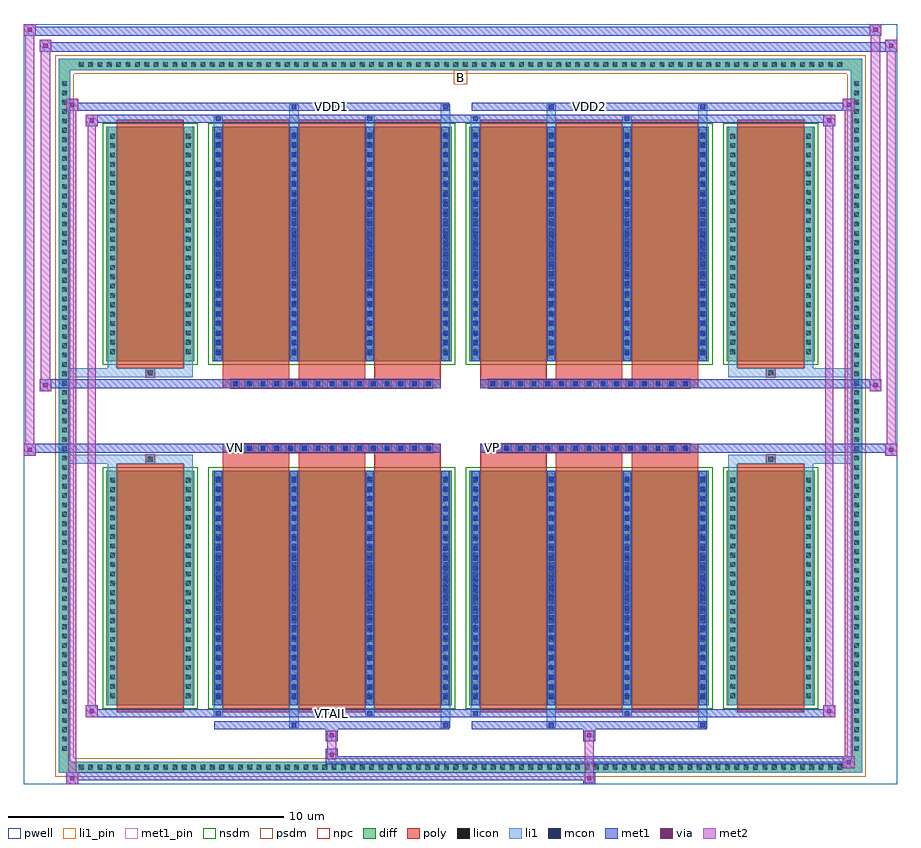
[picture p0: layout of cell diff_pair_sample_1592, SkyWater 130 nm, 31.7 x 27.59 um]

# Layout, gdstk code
import gdstk
lib = gdstk.Library(unit=1e-6, precision=5e-09)
def R(c, l, rs):  # rectangles x0, y0, x1, y1
    for r in rs: c.add(gdstk.rectangle(r[:2], r[2:], *l))
def A(c, l, x, y, w, h, nx, ny, dx, dy):  # array of equal rectangles
    R(c, l, [(x+i*dx, y+j*dy, x+i*dx+w, y+j*dy+h) for i in range(nx) for j in range(ny)])
def P(c, l, *ps):  # polygons
    for p in ps: c.add(gdstk.Polygon(p, *l))
pwell = (64, 44)
diff = (65, 20)
poly = (66, 20)
licon = (66, 44)
li1_pin = (67, 16)
li1 = (67, 20)
mcon = (67, 44)
met1_pin = (68, 16)
met1 = (68, 20)
via = (68, 44)
met2 = (69, 20)
nsdm = (93, 44)
psdm = (94, 20)
npc = (95, 20)

diff_pair_sample_1592 = lib.new_cell('diff_pair_sample_1592')
R(diff_pair_sample_1592, pwell, [(-15.85,-13.36,15.85,14.23), (-13.17,-11.55,-0.01,-0.805), (0.01,-11.55,13.17,-0.805), (-13.17,0.805,-0.01,11.55), (0.01,0.805,13.17,11.55)])
A(diff_pair_sample_1592, diff, -13.975, -12.96, 0.41, 0.41, 82, 2, 0.34, 25.51)
A(diff_pair_sample_1592, diff, -14.58, -12.275, 0.41, 0.41, 1, 72, 0, 0.34)
A(diff_pair_sample_1592, diff, 14.17, -12.275, 0.41, 0.41, 1, 72, 0, 0.34)
R(diff_pair_sample_1592, diff, [(-13.975,-12.96,13.975,-12.55), (-14.58,-12.275,-14.17,12.275), (14.17,-12.275,14.58,12.275), (-12.86,-10.505,-9.66,-1.985), (-9.02,-10.505,-0.32,-1.985), (0.32,-10.505,9.02,-1.985), (9.66,-10.505,12.86,-1.985), (-12.86,1.985,-9.66,10.505), (-9.02,1.985,-0.32,10.505), (0.32,1.985,9.02,10.505), (9.66,1.985,12.86,10.505), (-13.975,12.55,13.975,12.96)])
P(diff_pair_sample_1592, diff, [(14.58,12.96),(-14.58,12.96),(-14.58,-12.55),(-14.17,-12.55),(-14.17,12.55),(14.17,12.55),(14.17,-12.55),(-14.17,-12.55),(-14.58,-12.55),(-14.58,-12.96),(14.58,-12.96)])
A(diff_pair_sample_1592, poly, -8.63, -10.755, 2.42, 9.02, 3, 2, 2.75, 12.49)
A(diff_pair_sample_1592, poly, 0.71, -10.755, 2.42, 9.02, 3, 2, 2.75, 12.49)
A(diff_pair_sample_1592, poly, -8.63, -1.735, 2.42, 0.4, 3, 2, 2.75, 3.07)
A(diff_pair_sample_1592, poly, 0.71, -1.735, 2.42, 0.4, 3, 2, 2.75, 3.07)
A(diff_pair_sample_1592, poly, -8.335, -1.335, 0.33, 0.33, 15, 2, 0.5, 2.34)
A(diff_pair_sample_1592, poly, 1.005, -1.335, 0.33, 0.33, 15, 2, 0.5, 2.34)
R(diff_pair_sample_1592, poly, [(-12.47,-10.755,-10.05,-1.735), (10.05,-10.755,12.47,-1.735), (-11.425,-1.735,-11.095,-1.405), (-11.425,-1.735,-11.095,-1.405), (11.095,-1.735,11.425,-1.405), (11.095,-1.735,11.425,-1.405), (-8.63,-1.335,-0.71,-1.005), (0.71,-1.335,8.63,-1.005), (-8.63,1.005,-0.71,1.335), (0.71,1.005,8.63,1.335), (-11.425,1.405,-11.095,1.735), (-11.425,1.405,-11.095,1.735), (11.095,1.405,11.425,1.735), (11.095,1.405,11.425,1.735), (-12.47,1.735,-10.05,10.755), (10.05,1.735,12.47,10.755)])
A(diff_pair_sample_1592, licon, -13.855, -12.84, 0.17, 0.17, 82, 2, 0.34, 25.51)
A(diff_pair_sample_1592, licon, -14.46, -12.155, 0.17, 0.17, 1, 72, 0, 0.34)
A(diff_pair_sample_1592, licon, 14.29, -12.155, 0.17, 0.17, 1, 72, 0, 0.34)
A(diff_pair_sample_1592, licon, -12.72, -10.24, 0.17, 0.17, 1, 24, 0, 0.34)
A(diff_pair_sample_1592, licon, -9.97, -10.24, 0.17, 0.17, 1, 24, 0, 0.34)
A(diff_pair_sample_1592, licon, -8.88, -10.24, 0.17, 0.17, 4, 24, 2.75, 0.34)
A(diff_pair_sample_1592, licon, 0.46, -10.24, 0.17, 0.17, 4, 24, 2.75, 0.34)
A(diff_pair_sample_1592, licon, 9.8, -10.24, 0.17, 0.17, 1, 24, 0, 0.34)
A(diff_pair_sample_1592, licon, 12.55, -10.24, 0.17, 0.17, 1, 24, 0, 0.34)
A(diff_pair_sample_1592, licon, -8.255, -1.255, 0.17, 0.17, 15, 2, 0.5, 2.34)
A(diff_pair_sample_1592, licon, 1.085, -1.255, 0.17, 0.17, 15, 2, 0.5, 2.34)
A(diff_pair_sample_1592, licon, -12.72, 2.25, 0.17, 0.17, 1, 24, 0, 0.34)
A(diff_pair_sample_1592, licon, -9.97, 2.25, 0.17, 0.17, 1, 24, 0, 0.34)
A(diff_pair_sample_1592, licon, -8.88, 2.25, 0.17, 0.17, 4, 24, 2.75, 0.34)
A(diff_pair_sample_1592, licon, 0.46, 2.25, 0.17, 0.17, 4, 24, 2.75, 0.34)
A(diff_pair_sample_1592, licon, 9.8, 2.25, 0.17, 0.17, 1, 24, 0, 0.34)
A(diff_pair_sample_1592, licon, 12.55, 2.25, 0.17, 0.17, 1, 24, 0, 0.34)
R(diff_pair_sample_1592, licon, [(-11.345,-1.655,-11.175,-1.485), (11.175,-1.655,11.345,-1.485), (-11.345,1.485,-11.175,1.655), (11.175,1.485,11.345,1.655)])
R(diff_pair_sample_1592, li1_pin, [(-0.25,12.05,0.25,12.55)])
A(diff_pair_sample_1592, li1, -13.935, -12.92, 0.33, 0.33, 82, 2, 0.34, 25.51)
A(diff_pair_sample_1592, li1, -14.54, -12.235, 0.33, 0.33, 1, 72, 0, 0.34)
A(diff_pair_sample_1592, li1, 14.21, -12.235, 0.33, 0.33, 1, 72, 0, 0.34)
A(diff_pair_sample_1592, li1, -8.96, -10.505, 0.33, 8.52, 4, 2, 2.75, 12.49)
A(diff_pair_sample_1592, li1, 0.38, -10.505, 0.33, 8.52, 4, 2, 2.75, 12.49)
A(diff_pair_sample_1592, li1, -12.8, -10.32, 0.33, 0.33, 1, 24, 0, 0.34)
A(diff_pair_sample_1592, li1, -10.05, -10.32, 0.33, 0.33, 1, 24, 0, 0.34)
A(diff_pair_sample_1592, li1, -8.96, -10.32, 0.33, 0.33, 4, 24, 2.75, 0.34)
A(diff_pair_sample_1592, li1, 0.38, -10.32, 0.33, 0.33, 4, 24, 2.75, 0.34)
A(diff_pair_sample_1592, li1, 9.72, -10.32, 0.33, 0.33, 1, 24, 0, 0.34)
A(diff_pair_sample_1592, li1, 12.47, -10.32, 0.33, 0.33, 1, 24, 0, 0.34)
A(diff_pair_sample_1592, li1, -8.88, -10.29, 0.17, 0.17, 4, 23, 2.75, 0.36)
A(diff_pair_sample_1592, li1, -8.88, -10.29, 0.17, 8.09, 4, 2, 2.75, 12.49)
A(diff_pair_sample_1592, li1, 0.46, -10.29, 0.17, 0.17, 4, 23, 2.75, 0.36)
A(diff_pair_sample_1592, li1, 0.46, -10.29, 0.17, 8.09, 4, 2, 2.75, 12.49)
A(diff_pair_sample_1592, li1, -8.335, -1.335, 0.33, 0.33, 15, 2, 0.5, 2.34)
A(diff_pair_sample_1592, li1, 1.005, -1.335, 0.33, 0.33, 15, 2, 0.5, 2.34)
A(diff_pair_sample_1592, li1, -12.8, 2.17, 0.33, 0.33, 1, 24, 0, 0.34)
A(diff_pair_sample_1592, li1, -10.05, 2.17, 0.33, 0.33, 1, 24, 0, 0.34)
A(diff_pair_sample_1592, li1, -8.96, 2.17, 0.33, 0.33, 4, 24, 2.75, 0.34)
A(diff_pair_sample_1592, li1, 0.38, 2.17, 0.33, 0.33, 4, 24, 2.75, 0.34)
A(diff_pair_sample_1592, li1, 9.72, 2.17, 0.33, 0.33, 1, 24, 0, 0.34)
A(diff_pair_sample_1592, li1, 12.47, 2.17, 0.33, 0.33, 1, 24, 0, 0.34)
A(diff_pair_sample_1592, li1, -8.88, 2.2, 0.17, 0.17, 4, 23, 2.75, 0.36)
A(diff_pair_sample_1592, li1, 0.46, 2.2, 0.17, 0.17, 4, 23, 2.75, 0.36)
R(diff_pair_sample_1592, li1, [(-14.58,-12.96,-14.17,-12.55), (-14.58,-12.96,-14.17,-12.55), (-14.17,-12.96,14.17,-12.55), (14.17,-12.96,14.58,-12.55), (14.17,-12.96,14.58,-12.55), (-14.58,-12.55,-14.17,12.55), (14.17,-12.55,14.58,12.55), (-6.21,-11.31,-5.88,-10.505), (-6.13,-11.31,-5.96,-11.14), (-0.71,-11.31,-0.38,-10.505), (-0.63,-11.31,-0.46,-11.14), (3.13,-11.31,3.46,-10.505), (3.21,-11.31,3.38,-11.14), (8.63,-11.31,8.96,-10.505), (8.71,-11.31,8.88,-11.14), (-8.96,-10.88,-8.63,-10.505), (-8.88,-10.88,-8.71,-10.71), (-3.46,-10.88,-3.13,-10.505), (-3.38,-10.88,-3.21,-10.71), (0.38,-10.88,0.71,-10.505), (0.46,-10.88,0.63,-10.71), (5.88,-10.88,6.21,-10.505), (5.96,-10.88,6.13,-10.71), (-12.8,-10.505,-12.47,-1.985), (-10.05,-10.505,-9.72,-1.985), (9.72,-10.505,10.05,-1.985), (12.47,-10.505,12.8,-1.985), (-12.8,-1.985,-12.47,-1.405), (-10.05,-1.985,-9.72,-1.405), (9.72,-1.985,10.05,-1.405), (12.47,-1.985,12.8,-1.405), (-14.58,-1.735,-11.425,-1.405), (-12.8,-1.735,-11.425,-1.405), (-11.425,-1.735,-11.095,-1.405), (-11.095,-1.735,-9.72,-1.405), (9.72,-1.735,11.095,-1.405), (11.095,-1.735,11.425,-1.405), (11.095,-1.735,14.58,-1.405), (11.425,-1.735,12.8,-1.405), (-14.58,1.405,-11.425,1.735), (-12.8,1.405,-11.425,1.735), (-12.8,1.405,-12.47,1.985), (-11.425,1.405,-11.095,1.735), (-11.095,1.405,-9.72,1.735), (-10.05,1.405,-9.72,1.985), (9.72,1.405,11.095,1.735), (9.72,1.405,10.05,1.985), (11.095,1.405,11.425,1.735), (11.095,1.405,14.58,1.735), (11.425,1.405,12.8,1.735), (12.47,1.405,12.8,1.985), (-12.8,1.985,-12.47,10.505), (-10.05,1.985,-9.72,10.505), (9.72,1.985,10.05,10.505), (12.47,1.985,12.8,10.505), (-8.96,10.505,-8.63,10.88), (-6.21,10.505,-5.88,11.31), (-3.46,10.505,-3.13,10.88), (-0.71,10.505,-0.38,11.31), (0.38,10.505,0.71,10.88), (3.13,10.505,3.46,11.31), (5.88,10.505,6.21,10.88), (8.63,10.505,8.96,11.31), (-8.88,10.71,-8.71,10.88), (-3.38,10.71,-3.21,10.88), (0.46,10.71,0.63,10.88), (5.96,10.71,6.13,10.88), (-6.13,11.14,-5.96,11.31), (-0.63,11.14,-0.46,11.31), (3.21,11.14,3.38,11.31), (8.71,11.14,8.88,11.31), (-14.58,12.55,-14.17,12.96), (-14.58,12.55,-14.17,12.96), (-14.17,12.55,14.17,12.96), (14.17,12.55,14.58,12.96), (14.17,12.55,14.58,12.96)])
A(diff_pair_sample_1592, mcon, -8.88, -10.29, 0.17, 0.17, 4, 23, 2.75, 0.36)
A(diff_pair_sample_1592, mcon, 0.46, -10.29, 0.17, 0.17, 4, 23, 2.75, 0.36)
A(diff_pair_sample_1592, mcon, -8.255, -1.255, 0.17, 0.17, 15, 2, 0.5, 2.34)
A(diff_pair_sample_1592, mcon, 1.085, -1.255, 0.17, 0.17, 15, 2, 0.5, 2.34)
A(diff_pair_sample_1592, mcon, -8.88, 2.2, 0.17, 0.17, 4, 23, 2.75, 0.36)
A(diff_pair_sample_1592, mcon, 0.46, 2.2, 0.17, 0.17, 4, 23, 2.75, 0.36)
R(diff_pair_sample_1592, mcon, [(-6.13,-11.31,-5.96,-11.14), (-0.63,-11.31,-0.46,-11.14), (3.21,-11.31,3.38,-11.14), (8.71,-11.31,8.88,-11.14), (-8.88,-10.88,-8.71,-10.71), (-3.38,-10.88,-3.21,-10.71), (0.46,-10.88,0.63,-10.71), (5.96,-10.88,6.13,-10.71), (-8.88,10.71,-8.71,10.88), (-3.38,10.71,-3.21,10.88), (0.46,10.71,0.63,10.88), (5.96,10.71,6.13,10.88), (-6.13,11.14,-5.96,11.31), (-0.63,11.14,-0.46,11.31), (3.21,11.14,3.38,11.31), (8.71,11.14,8.88,11.31)])
R(diff_pair_sample_1592, met1_pin, [(-4.805,-10.92,-4.535,-10.65), (-8.305,-1.295,-8.035,-1.025), (1.035,-1.295,1.305,-1.025), (-4.805,11.1,-4.535,11.37), (4.535,11.1,4.805,11.37)])
A(diff_pair_sample_1592, met1, -8.94, -10.505, 0.29, 8.52, 4, 2, 2.75, 12.49)
A(diff_pair_sample_1592, met1, 0.4, -10.505, 0.29, 8.52, 4, 2, 2.75, 12.49)
A(diff_pair_sample_1592, met1, -8.94, -10.35, 0.29, 0.29, 4, 23, 2.75, 0.36)
A(diff_pair_sample_1592, met1, 0.4, -10.35, 0.29, 0.29, 4, 23, 2.75, 0.36)
A(diff_pair_sample_1592, met1, -8.315, -1.315, 0.29, 0.29, 15, 2, 0.5, 2.34)
A(diff_pair_sample_1592, met1, 1.025, -1.315, 0.29, 0.29, 15, 2, 0.5, 2.34)
A(diff_pair_sample_1592, met1, -8.94, 2.14, 0.29, 0.29, 4, 23, 2.75, 0.36)
A(diff_pair_sample_1592, met1, 0.4, 2.14, 0.29, 0.29, 4, 23, 2.75, 0.36)
R(diff_pair_sample_1592, met1, [(-14.31,-13.36,-13.88,-12.93), (4.455,-13.36,4.885,-12.93), (-14.31,-13.22,4.885,-12.93), (13.88,-12.79,14.31,-12.36), (-4.885,-12.65,14.31,-12.36), (-4.885,-12.51,-4.455,-12.08), (-4.885,-11.8,-4.455,-11.37), (4.455,-11.8,4.885,-11.37), (-8.94,-11.37,-0.4,-11.08), (-6.19,-11.37,-5.9,-11.08), (-0.69,-11.37,-0.4,-11.08), (0.4,-11.37,8.94,-11.08), (3.15,-11.37,3.44,-11.08), (8.65,-11.37,8.94,-11.08), (-13.6,-10.94,-13.17,-10.51), (-13.6,-10.94,-8.94,-10.65), (-8.94,-10.94,-8.65,-10.65), (-8.94,-10.94,-0.4,-10.65), (-3.44,-10.94,-3.15,-10.65), (-0.4,-10.94,0.4,-10.65), (0.4,-10.94,0.69,-10.65), (0.4,-10.94,8.94,-10.65), (5.9,-10.94,6.19,-10.65), (8.94,-10.94,13.6,-10.65), (13.17,-10.94,13.6,-10.51), (-15.85,-1.435,-15.42,-1.005), (15.42,-1.435,15.85,-1.005), (-15.85,-1.335,-0.71,-1.005), (-8.63,-1.335,-0.71,-1.005), (0.71,-1.335,8.63,-1.005), (0.71,-1.335,15.85,-1.005), (-15.28,0.905,-14.85,1.335), (14.85,0.905,15.28,1.335), (-15.28,1.005,-8.63,1.335), (-8.63,1.005,-0.71,1.335), (0.71,1.005,8.63,1.335), (8.63,1.005,15.28,1.335), (-13.6,10.51,-13.17,10.94), (13.17,10.51,13.6,10.94), (-13.6,10.65,-8.94,10.94), (-8.94,10.65,-8.65,10.94), (-8.94,10.65,-0.4,10.94), (-3.44,10.65,-3.15,10.94), (-0.4,10.65,0.4,10.94), (0.4,10.65,0.69,10.94), (0.4,10.65,8.94,10.94), (5.9,10.65,6.19,10.94), (8.94,10.65,13.6,10.94), (-14.31,11.08,-13.88,11.51), (-14.31,11.08,-8.94,11.37), (-8.94,11.08,-0.4,11.37), (-6.19,11.08,-5.9,11.37), (-0.69,11.08,-0.4,11.37), (0.4,11.08,8.94,11.37), (3.15,11.08,3.44,11.37), (8.65,11.08,8.94,11.37), (8.94,11.08,14.31,11.37), (13.88,11.08,14.31,11.51), (-15.28,13.23,-14.85,13.66), (-15.28,13.23,-13.17,13.56), (-13.17,13.23,13.17,13.56), (13.17,13.23,15.85,13.56), (15.42,13.23,15.85,13.66), (-15.85,13.8,-15.42,14.23), (-15.85,13.8,-13.17,14.13), (-13.17,13.8,13.17,14.13), (13.17,13.8,15.28,14.13), (14.85,13.8,15.28,14.23)])
R(diff_pair_sample_1592, via, [(-14.17,-13.22,-14.02,-13.07), (4.595,-13.22,4.745,-13.07), (14.02,-12.65,14.17,-12.5), (-4.745,-12.37,-4.595,-12.22), (-4.745,-11.66,-4.595,-11.51), (4.595,-11.66,4.745,-11.51), (-13.46,-10.8,-13.31,-10.65), (13.31,-10.8,13.46,-10.65), (-15.71,-1.295,-15.56,-1.145), (15.56,-1.295,15.71,-1.145), (-15.14,1.045,-14.99,1.195), (14.99,1.045,15.14,1.195), (-13.46,10.65,-13.31,10.8), (13.31,10.65,13.46,10.8), (-14.17,11.22,-14.02,11.37), (14.02,11.22,14.17,11.37), (-15.14,13.37,-14.99,13.52), (15.56,13.37,15.71,13.52), (-15.71,13.94,-15.56,14.09), (14.99,13.94,15.14,14.09)])
R(diff_pair_sample_1592, met2, [(-14.31,-13.36,-13.88,-12.93), (-14.24,-13.36,-13.95,11.51), (-13.95,-13.36,-13.88,-12.93), (-14.26,-13.31,-13.93,-12.98), (4.505,-13.31,4.835,-12.98), (4.505,-12.98,4.835,-11.75), (13.88,-12.79,14.31,-12.36), (13.95,-12.79,14.24,11.51), (14.24,-12.79,14.31,-12.36), (13.93,-12.74,14.26,-12.41), (-4.835,-12.46,-4.505,-12.13), (-4.835,-12.13,-4.505,-11.75), (-4.835,-11.75,-4.505,-11.42), (4.505,-11.75,4.835,-11.42), (-13.6,-10.94,-13.17,-10.51), (-13.53,-10.94,-13.24,10.94), (-13.24,-10.94,-13.17,-10.51), (13.17,-10.94,13.6,-10.51), (13.24,-10.94,13.53,10.94), (13.53,-10.94,13.6,-10.51), (-13.55,-10.89,-13.22,-10.56), (13.22,-10.89,13.55,-10.56), (-15.85,-1.435,-15.42,-1.005), (-15.8,-1.435,-15.47,14.23), (-15.47,-1.435,-15.42,-1.005), (15.42,-1.435,15.85,-1.005), (15.47,-1.435,15.8,13.66), (15.8,-1.435,15.85,-1.005), (-15.8,-1.385,-15.47,-1.055), (15.47,-1.385,15.8,-1.055), (-15.28,0.905,-14.85,1.335), (-15.23,0.905,-14.9,13.66), (-14.9,0.905,-14.85,1.335), (14.85,0.905,15.28,1.335), (14.9,0.905,15.23,14.23), (15.23,0.905,15.28,1.335), (-15.23,0.955,-14.9,1.285), (14.9,0.955,15.23,1.285), (-13.6,10.51,-13.17,10.94), (-13.24,10.51,-13.17,10.94), (13.17,10.51,13.6,10.94), (13.53,10.51,13.6,10.94), (-13.55,10.56,-13.22,10.89), (13.22,10.56,13.55,10.89), (-14.31,11.08,-13.88,11.51), (-13.95,11.08,-13.88,11.51), (13.88,11.08,14.31,11.51), (14.24,11.08,14.31,11.51), (-14.26,11.13,-13.93,11.46), (13.93,11.13,14.26,11.46), (-15.28,13.23,-14.85,13.66), (-14.9,13.23,-14.85,13.66), (15.42,13.23,15.85,13.66), (15.8,13.23,15.85,13.66), (-15.23,13.28,-14.9,13.61), (15.47,13.28,15.8,13.61), (-15.85,13.8,-15.42,14.23), (-15.47,13.8,-15.42,14.23), (14.85,13.8,15.28,14.23), (15.23,13.8,15.28,14.23), (-15.8,13.85,-15.47,14.18), (14.9,13.85,15.23,14.18)])
R(diff_pair_sample_1592, nsdm, [(-12.99,-10.635,-9.53,-1.855), (-9.15,-10.635,-0.19,-1.855), (0.19,-10.635,9.15,-1.855), (9.53,-10.635,12.99,-1.855), (-12.99,1.855,-9.53,10.635), (-9.15,1.855,-0.19,10.635), (0.19,1.855,9.15,10.635), (9.53,1.855,12.99,10.635)])
P(diff_pair_sample_1592, psdm, [(14.71,13.09),(-14.71,13.09),(-14.71,-12.42),(-14.04,-12.42),(-14.04,12.42),(14.04,12.42),(14.04,-12.42),(-14.04,-12.42),(-14.71,-12.42),(-14.71,-13.09),(14.71,-13.09)])
A(diff_pair_sample_1592, npc, -8.355, -1.355, 0.37, 0.37, 15, 2, 0.5, 2.34)
A(diff_pair_sample_1592, npc, 0.985, -1.355, 0.37, 0.37, 15, 2, 0.5, 2.34)
R(diff_pair_sample_1592, npc, [(-11.445,-1.755,-11.075,-1.385), (11.075,-1.755,11.445,-1.385), (-8.355,-1.355,-7.485,-0.985), (-8.355,-1.355,-7.485,-0.985), (-7.855,-1.355,-6.985,-0.985), (-7.855,-1.355,-6.985,-0.985), (-7.355,-1.355,-6.485,-0.985), (-7.355,-1.355,-6.485,-0.985), (-6.855,-1.355,-5.985,-0.985), (-6.855,-1.355,-5.985,-0.985), (-6.355,-1.355,-5.485,-0.985), (-6.355,-1.355,-5.485,-0.985), (-5.855,-1.355,-4.985,-0.985), (-5.855,-1.355,-4.985,-0.985), (-5.355,-1.355,-4.485,-0.985), (-5.355,-1.355,-4.485,-0.985), (-4.855,-1.355,-3.985,-0.985), (-4.855,-1.355,-3.985,-0.985), (-4.355,-1.355,-3.485,-0.985), (-4.355,-1.355,-3.485,-0.985), (-3.855,-1.355,-2.985,-0.985), (-3.855,-1.355,-2.985,-0.985), (-3.355,-1.355,-2.485,-0.985), (-3.355,-1.355,-2.485,-0.985), (-2.855,-1.355,-1.985,-0.985), (-2.855,-1.355,-1.985,-0.985), (-2.355,-1.355,-1.485,-0.985), (-2.355,-1.355,-1.485,-0.985), (-1.855,-1.355,-0.985,-0.985), (-1.855,-1.355,-0.985,-0.985), (0.985,-1.355,1.855,-0.985), (0.985,-1.355,1.855,-0.985), (1.485,-1.355,2.355,-0.985), (1.485,-1.355,2.355,-0.985), (1.985,-1.355,2.855,-0.985), (1.985,-1.355,2.855,-0.985), (2.485,-1.355,3.355,-0.985), (2.485,-1.355,3.355,-0.985), (2.985,-1.355,3.855,-0.985), (2.985,-1.355,3.855,-0.985), (3.485,-1.355,4.355,-0.985), (3.485,-1.355,4.355,-0.985), (3.985,-1.355,4.855,-0.985), (3.985,-1.355,4.855,-0.985), (4.485,-1.355,5.355,-0.985), (4.485,-1.355,5.355,-0.985), (4.985,-1.355,5.855,-0.985), (4.985,-1.355,5.855,-0.985), (5.485,-1.355,6.355,-0.985), (5.485,-1.355,6.355,-0.985), (5.985,-1.355,6.855,-0.985), (5.985,-1.355,6.855,-0.985), (6.485,-1.355,7.355,-0.985), (6.485,-1.355,7.355,-0.985), (6.985,-1.355,7.855,-0.985), (6.985,-1.355,7.855,-0.985), (7.485,-1.355,8.355,-0.985), (7.485,-1.355,8.355,-0.985), (-8.355,0.985,-7.485,1.355), (-8.355,0.985,-7.485,1.355), (-7.855,0.985,-6.985,1.355), (-7.855,0.985,-6.985,1.355), (-7.355,0.985,-6.485,1.355), (-7.355,0.985,-6.485,1.355), (-6.855,0.985,-5.985,1.355), (-6.855,0.985,-5.985,1.355), (-6.355,0.985,-5.485,1.355), (-6.355,0.985,-5.485,1.355), (-5.855,0.985,-4.985,1.355), (-5.855,0.985,-4.985,1.355), (-5.355,0.985,-4.485,1.355), (-5.355,0.985,-4.485,1.355), (-4.855,0.985,-3.985,1.355), (-4.855,0.985,-3.985,1.355), (-4.355,0.985,-3.485,1.355), (-4.355,0.985,-3.485,1.355), (-3.855,0.985,-2.985,1.355), (-3.855,0.985,-2.985,1.355), (-3.355,0.985,-2.485,1.355), (-3.355,0.985,-2.485,1.355), (-2.855,0.985,-1.985,1.355), (-2.855,0.985,-1.985,1.355), (-2.355,0.985,-1.485,1.355), (-2.355,0.985,-1.485,1.355), (-1.855,0.985,-0.985,1.355), (-1.855,0.985,-0.985,1.355), (0.985,0.985,1.855,1.355), (0.985,0.985,1.855,1.355), (1.485,0.985,2.355,1.355), (1.485,0.985,2.355,1.355), (1.985,0.985,2.855,1.355), (1.985,0.985,2.855,1.355), (2.485,0.985,3.355,1.355), (2.485,0.985,3.355,1.355), (2.985,0.985,3.855,1.355), (2.985,0.985,3.855,1.355), (3.485,0.985,4.355,1.355), (3.485,0.985,4.355,1.355), (3.985,0.985,4.855,1.355), (3.985,0.985,4.855,1.355), (4.485,0.985,5.355,1.355), (4.485,0.985,5.355,1.355), (4.985,0.985,5.855,1.355), (4.985,0.985,5.855,1.355), (5.485,0.985,6.355,1.355), (5.485,0.985,6.355,1.355), (5.985,0.985,6.855,1.355), (5.985,0.985,6.855,1.355), (6.485,0.985,7.355,1.355), (6.485,0.985,7.355,1.355), (6.985,0.985,7.855,1.355), (6.985,0.985,7.855,1.355), (7.485,0.985,8.355,1.355), (7.485,0.985,8.355,1.355), (-11.445,1.385,-11.075,1.755), (11.075,1.385,11.445,1.755)])
diff_pair_sample_1592.add(gdstk.Label('VTAIL', (-4.67,-10.785), layer=68, texttype=5))
diff_pair_sample_1592.add(gdstk.Label('VN', (-8.17,-1.16), layer=68, texttype=5))
diff_pair_sample_1592.add(gdstk.Label('VP', (1.17,-1.16), layer=68, texttype=5))
diff_pair_sample_1592.add(gdstk.Label('B', (0,12.3), layer=67, texttype=5))
diff_pair_sample_1592.add(gdstk.Label('VDD2', (4.67,11.235), layer=68, texttype=5))
diff_pair_sample_1592.add(gdstk.Label('VDD1', (-4.67,11.235), layer=68, texttype=5))

lib.write_gds('diff_pair_sample_1592.gds')
